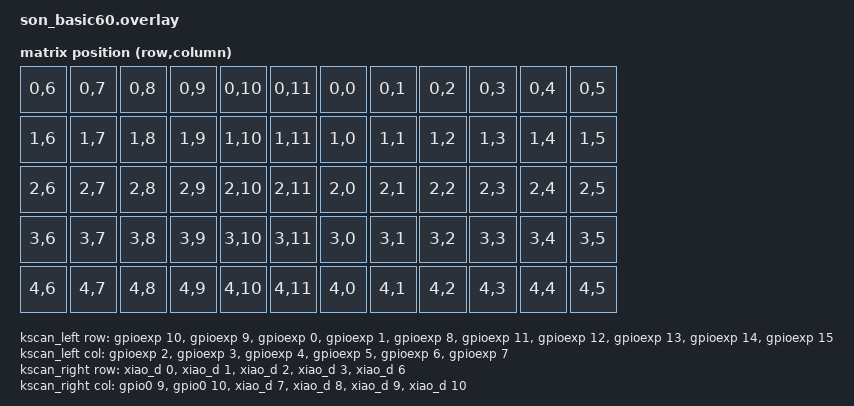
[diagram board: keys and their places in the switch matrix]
/*
 * Copyright (c) 2023 The ZMK Contributors
 *
 * SPDX-License-Identifier: MIT
 */

#include <dt-bindings/zmk/matrix_transform.h>

/ {
    chosen {
        zmk,kscan = &kscan;
        zmk,matrix_transform = &transform;
    };

    transform: transform {
        compatible = "zmk,matrix-transform";
        rows = <5>;
        columns = <12>;

        map = <
        RC(0,6) RC(0,7) RC(0,8) RC(0,9) RC(0,10) RC(0,11)     RC(0,0) RC(0,1) RC(0,2) RC(0,3) RC(0,4) RC(0,5)
        RC(1,6) RC(1,7) RC(1,8) RC(1,9) RC(1,10) RC(1,11)     RC(1,0) RC(1,1) RC(1,2) RC(1,3) RC(1,4) RC(1,5)
        RC(2,6) RC(2,7) RC(2,8) RC(2,9) RC(2,10) RC(2,11)     RC(2,0) RC(2,1) RC(2,2) RC(2,3) RC(2,4) RC(2,5)
        RC(3,6) RC(3,7) RC(3,8) RC(3,9) RC(3,10) RC(3,11)     RC(3,0) RC(3,1) RC(3,2) RC(3,3) RC(3,4) RC(3,5)
        RC(4,6) RC(4,7) RC(4,8) RC(4,9) RC(4,10) RC(4,11)     RC(4,0) RC(4,1) RC(4,2) RC(4,3) RC(4,4) RC(4,5)
        >;
    };

    kscan: kscan {
        compatible = "zmk,kscan-composite";
        rows = <5>;
        columns = <12>;

        left {
            kscan = <&kscan_left>;
            column-offset = <6>;
        };

        right {
            kscan = <&kscan_right>;
        };
    };

    kscan_left: kscan_left {
        compatible = "zmk,kscan-gpio-matrix";

        // row2col set the column pins as inputs
        diode-direction = "row2col";

        // defaults:
        poll-period-ms = <10>;
        debounce-scan-period-ms = <1>;
        debounce-release-ms = <5>;
        debounce-press-ms = <5>;

        // Matrix column GPIOs in order, starting from the leftmost column
        col-gpios
        = <&gpioexp 2 (GPIO_ACTIVE_LOW)>
        , <&gpioexp 3 (GPIO_ACTIVE_LOW)>
        , <&gpioexp 4 (GPIO_ACTIVE_LOW)>
        , <&gpioexp 5 (GPIO_ACTIVE_LOW)>
        , <&gpioexp 6 (GPIO_ACTIVE_LOW)>
        , <&gpioexp 7 (GPIO_ACTIVE_LOW)>
        ;

        // Matrix row GPIOs in order, starting from the top row
        row-gpios
        = <&gpioexp 10 (GPIO_ACTIVE_LOW)>
        , <&gpioexp 9  (GPIO_ACTIVE_LOW)>
        , <&gpioexp 0  (GPIO_ACTIVE_LOW)>
        , <&gpioexp 1  (GPIO_ACTIVE_LOW)>
        , <&gpioexp 8  (GPIO_ACTIVE_LOW)>

        // Set unused GPIOS below as output otherwise float leaks
        , <&gpioexp 11  (GPIO_ACTIVE_HIGH)>
        , <&gpioexp 12  (GPIO_ACTIVE_HIGH)>
        , <&gpioexp 13  (GPIO_ACTIVE_HIGH)>
        , <&gpioexp 14  (GPIO_ACTIVE_HIGH)>
        , <&gpioexp 15  (GPIO_ACTIVE_HIGH)>
        ;
    };

    kscan_right: kscan_right {
        compatible = "zmk,kscan-gpio-matrix";

        // col2row set the column pins as outputs
        diode-direction = "col2row";

        // defaults:
        poll-period-ms = <10>;
        debounce-scan-period-ms = <1>;
        debounce-release-ms = <5>;
        debounce-press-ms = <5>;

        // Matrix column GPIOs in order, starting from the leftmost column
        col-gpios
        = <&gpio0 9   (GPIO_ACTIVE_HIGH)>
        , <&gpio0 10  (GPIO_ACTIVE_HIGH)>
        , <&xiao_d 7  (GPIO_ACTIVE_HIGH)>
        , <&xiao_d 8  (GPIO_ACTIVE_HIGH)>
        , <&xiao_d 9  (GPIO_ACTIVE_HIGH)>
        , <&xiao_d 10 (GPIO_ACTIVE_HIGH)>
        ;

        // Matrix row GPIOs in order, starting from the top row
        row-gpios
        = <&xiao_d 0 (GPIO_ACTIVE_HIGH | GPIO_PULL_DOWN)>
        , <&xiao_d 1 (GPIO_ACTIVE_HIGH | GPIO_PULL_DOWN)>
        , <&xiao_d 2 (GPIO_ACTIVE_HIGH | GPIO_PULL_DOWN)>
        , <&xiao_d 3 (GPIO_ACTIVE_HIGH | GPIO_PULL_DOWN)>
        , <&xiao_d 6 (GPIO_ACTIVE_HIGH | GPIO_PULL_DOWN)>
        ;
    };

};

&xiao_i2c {
    clock-frequency = <I2C_BITRATE_FAST>;
    status = "okay";

    gpioexp: pca9535@20 {
        compatible = "nxp,pca95xx";
        reg = <0x20>;
        gpio-controller;
        #gpio-cells = <2>;
        ngpios = <16>;
        interrupt-gpios = <&gpio1 0 (GPIO_ACTIVE_LOW | GPIO_PULL_UP)>;
    };
};

&xiao_spi {status = "disabled"; };
&xiao_serial {status = "disabled"; };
